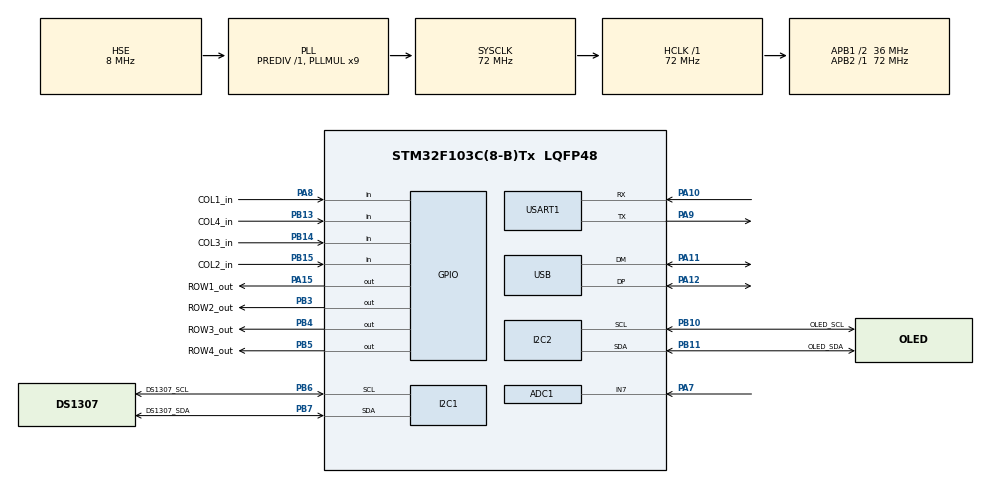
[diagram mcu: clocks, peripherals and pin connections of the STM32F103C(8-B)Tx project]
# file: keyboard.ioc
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ADC1.Channel-4\#ChannelRegularConversion=ADC_CHANNEL_7
ADC1.ContinuousConvMode=ENABLE
ADC1.NbrOfConversionFlag=1
ADC1.Rank-4\#ChannelRegularConversion=1
ADC1.SamplingTime-4\#ChannelRegularConversion=ADC_SAMPLETIME_1CYCLE_5
ADC1.master=1
Dma.ADC1.0.Direction=DMA_PERIPH_TO_MEMORY
Dma.ADC1.0.Instance=DMA1_Channel1
Dma.ADC1.0.MemDataAlignment=DMA_MDATAALIGN_HALFWORD
Dma.ADC1.0.MemInc=DMA_MINC_DISABLE
Dma.ADC1.0.Mode=DMA_CIRCULAR
Dma.ADC1.0.PeriphDataAlignment=DMA_PDATAALIGN_HALFWORD
Dma.ADC1.0.PeriphInc=DMA_PINC_DISABLE
Dma.ADC1.0.Priority=DMA_PRIORITY_LOW
Dma.Request0=ADC1
I2C1.I2C_Mode=I2C_Standard
I2C2.I2C_Mode=I2C_Fast
Mcu.Family=STM32F1
Mcu.Name=STM32F103C(8-B)Tx
Mcu.Package=LQFP48
NVIC.DMA1_Channel1_IRQn=true\:3\:0\:true\:false\:true\:false\:true\:true
NVIC.I2C2_ER_IRQn=true\:2\:0\:true\:false\:true\:true\:true\:true
NVIC.I2C2_EV_IRQn=true\:2\:0\:true\:false\:true\:true\:true\:true
NVIC.PriorityGroup=NVIC_PRIORITYGROUP_4
NVIC.USB_HP_CAN1_TX_IRQn=true\:1\:0\:true\:false\:true\:true\:true\:true
NVIC.USB_LP_CAN1_RX0_IRQn=true\:1\:0\:true\:false\:true\:false\:true\:true
PA10.Mode=Asynchronous
PA10.Signal=USART1_RX
PA11.Mode=Device
PA11.Signal=USB_DM
PA12.Mode=Device
PA12.Signal=USB_DP
PA13.Mode=Serial_Wire
PA13.Signal=SYS_JTMS-SWDIO
PA14.Mode=Serial_Wire
PA14.Signal=SYS_JTCK-SWCLK
PA15.GPIO_Label=ROW1_out
PA15.Signal=GPIO_Output
PA7.Signal=ADCx_IN7
PA8.GPIO_Label=COL1_in
PA8.GPIO_PuPd=GPIO_PULLUP
PA8.Signal=GPIO_Input
PA9.Mode=Asynchronous
PA9.Signal=USART1_TX
PB10.GPIO_Label=OLED_SCL
PB10.Mode=I2C
PB10.Signal=I2C2_SCL
PB11.GPIO_Label=OLED_SDA
PB11.Mode=I2C
PB11.Signal=I2C2_SDA
PB13.GPIO_Label=COL4_in
PB13.GPIO_PuPd=GPIO_PULLUP
PB13.Signal=GPIO_Input
PB14.GPIO_Label=COL3_in
PB14.GPIO_PuPd=GPIO_PULLUP
PB14.Signal=GPIO_Input
PB15.GPIO_Label=COL2_in
PB15.GPIO_PuPd=GPIO_PULLUP
PB15.Signal=GPIO_Input
PB3.GPIO_Label=ROW2_out
PB3.Signal=GPIO_Output
PB4.GPIO_Label=ROW3_out
PB4.Signal=GPIO_Output
PB5.GPIO_Label=ROW4_out
PB5.Signal=GPIO_Output
PB6.GPIO_Label=DS1307_SCL
PB6.Mode=I2C
PB6.Signal=I2C1_SCL
PB7.GPIO_Label=DS1307_SDA
PB7.Mode=I2C
PB7.Signal=I2C1_SDA
PD0-OSC_IN.Mode=HSE-External-Oscillator
PD0-OSC_IN.Signal=RCC_OSC_IN
PD1-OSC_OUT.Mode=HSE-External-Oscillator
PD1-OSC_OUT.Signal=RCC_OSC_OUT
ProjectManager.HeapSize=0x200
ProjectManager.StackSize=0x400
ProjectManager.TargetToolchain=MDK-ARM V5.32
RCC.ADCPresc=RCC_ADCPCLK2_DIV6
RCC.AHBFreq_Value=72000000
RCC.APB1CLKDivider=RCC_HCLK_DIV2
RCC.APB1Freq_Value=36000000
RCC.APB1TimFreq_Value=72000000
RCC.APB2Freq_Value=72000000
RCC.APB2TimFreq_Value=72000000
RCC.HCLKFreq_Value=72000000
RCC.PLLMUL=RCC_PLL_MUL9
RCC.SYSCLKFreq_VALUE=72000000
RCC.SYSCLKSource=RCC_SYSCLKSOURCE_PLLCLK
RCC.USBFreq_Value=48000000
RCC.USBPrescaler=RCC_USBCLKSOURCE_PLL_DIV1_5
SH.ADCx_IN7.0=ADC1_IN7,IN7
USART1.VirtualMode=VM_ASYNC
USB_DEVICE.CLASS_NAME_FS=CUSTOM_HID
USB_DEVICE.CUSTOM_HID_FS_BINTERVAL=0x0A
USB_DEVICE.PRODUCT_STRING_CUSTOMHID_FS=Phuong's DIY Keypad
USB_DEVICE.USBD_CUSTOMHID_OUTREPORT_BUF_SIZE=8
USB_DEVICE.USBD_CUSTOM_HID_REPORT_DESC_SIZE=120
USB_DEVICE.VirtualMode=CustomHid
USB_DEVICE.VirtualModeFS=Custom_Hid_FS
VP_USB_DEVICE_VS_USB_DEVICE_CUSTOM_HID_FS.Mode=CUSTOM_HID_FS
board=custom

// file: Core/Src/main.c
/* USER CODE BEGIN Header */
/**
  ******************************************************************************
  * @file           : main.c
  * @brief          : Main program body
  ******************************************************************************
  * @attention
  *
  * Copyright (c) 2025 STMicroelectronics.
  * All rights reserved.
  *
  * This software is licensed under terms that can be found in the LICENSE file
  * in the root directory of this software component.
  * If no LICENSE file comes with this software, it is provided AS-IS.
  *
  ******************************************************************************
  */
/* USER CODE END Header */
#include "main.h"
#include "usb_device.h"

ADC_HandleTypeDef hadc1;
DMA_HandleTypeDef hdma_adc1;

I2C_HandleTypeDef hi2c1;
I2C_HandleTypeDef hi2c2;

UART_HandleTypeDef huart1;

void SystemClock_Config(void);
static void MX_GPIO_Init(void);
static void MX_DMA_Init(void);
static void MX_I2C1_Init(void);
static void MX_USART1_UART_Init(void);
static void MX_ADC1_Init(void);
static void MX_I2C2_Init(void);

/* USER CODE BEGIN 0 */
#include "stdio.h"
#include "stdarg.h"
#include "stdbool.h"
#include "fonts.h"
#include "ssd1306.h"
#include "DS1307.h"
#include "Button_matrix.h"

#define ADC_BUFF_LEN 32		// sample to moving average filter
#define ADC_THRESHOLD 80 // threshold for changing %volume
#define VOLUME_MAX 100	//MAX VOLUME

#include "usbd_customhid.h"
extern USBD_HandleTypeDef hUsbDeviceFS;

void Send_key(uint8_t modifier, uint8_t keycode);
void Send_consumer(uint16_t keycode);

uint16_t adc_val[ADC_BUFF_LEN];
uint8_t volume = 0;
uint16_t volume_now, volume_old = 0;

char buff_time[20];
char buff_day[20];

char buff_uart[40];
//===================Time==================
DS1307_Typedef time_data;

//====================UART DEBUG============
void Print_uart(const char*format,...)
{
	for(uint8_t i=0; i<40; i++)
	{
		buff_uart[i] = 0;
	}
	va_list args;
	va_start(args, format);
	vsnprintf(buff_uart, sizeof(buff_uart), format, args);
	va_end(args);
	HAL_UART_Transmit(&huart1, (uint8_t*)buff_uart, 40, 1000);
}

//=========================key press handle=============
Matrix_Pin_Typedef rowS[4] = {
	{GPIOA, GPIO_PIN_15}, // ROW 1 - 4
	{GPIOB, GPIO_PIN_3},
	{GPIOB, GPIO_PIN_4},
	{GPIOB, GPIO_PIN_5},
};

Matrix_Pin_Typedef colS[4] = {
	{GPIOA, GPIO_PIN_8}, // col 1 - 4
	{GPIOB, GPIO_PIN_15},
	{GPIOB, GPIO_PIN_14},
	{GPIOB, GPIO_PIN_13},
};

Matrix_Typedef button_matrix = {
	.num_row = 4,
	.num_col = 4,
	.row_pins = rowS,
	.col_pins = colS
};

typedef enum
{
	KEY_TYPE_KEYBOARD,
	KEY_TYPE_CONSUMER
}KeyType_t;

typedef struct
{
	KeyType_t type;
	uint8_t modifier;
	uint16_t keycode;
}KeyMap_t;

KeyMap_t macro_key[16] = {
	{KEY_TYPE_KEYBOARD, 0x00, 0x46}, 	// KEY_PrtSc 1
	{KEY_TYPE_KEYBOARD, 0x0A, 0x16},	// KEY_SNIPPING_TOOL 2
	{KEY_TYPE_KEYBOARD, 0x08, 0x07},	//KEY_SHOW_DESKTOP 3
	{KEY_TYPE_KEYBOARD, 0x04, 0x3D},	// KEY_CLOSE_WINDOW 4
	{KEY_TYPE_KEYBOARD, 0x01, 0x1B},	//KEY_CUT 5
	{KEY_TYPE_KEYBOARD, 0x01, 0x06},	//KEY_COPY 6
	{KEY_TYPE_KEYBOARD, 0x01, 0x19},	//KEY_PASTE 7
	{KEY_TYPE_KEYBOARD, 0x01, 0x1D},	//KEY_UNDO 8
	{KEY_TYPE_KEYBOARD, 0x01, 0x1C},	//KEY_REDO 9
	{KEY_TYPE_KEYBOARD, 0x01, 0x04},	// KEY_SELECT_ALL 10
	{KEY_TYPE_CONSUMER, 0x00, 0xE2},	// KEY_MUTE 11
	{KEY_TYPE_CONSUMER, 0x00, 0xCD},	//KEY_PLAY_PAUSE 12
	{KEY_TYPE_CONSUMER, 0x00, 0xB5},	//KEY_NEXT_TRACK 13
	{KEY_TYPE_CONSUMER, 0x00, 0xB6},	//KEY_PREV_TRACK 14
	{KEY_TYPE_KEYBOARD, 0x01, 0x1A},	// KEY_CLOSE_TAB 15
	{KEY_TYPE_KEYBOARD, 0x01, 0x17}		//KEY_NEW_TAB 16
};

void Matrix_key_press_Callback(uint8_t key, KeyEvent_t key_event)
{
	KeyMap_t key_map = macro_key[key-1];
	if(key_event == KEY_PRESS)
	{
		if(key_map.type == KEY_TYPE_KEYBOARD)
		{
			Send_key(key_map.modifier, key_map.keycode);
			Print_uart("Key %d sent, type keyboard\n", key);
		}
		else if(key_map.type == KEY_TYPE_CONSUMER)
		{
			Send_consumer(key_map.keycode);
			Print_uart("Key %d sent, type consumer\n", key);
		}
	}
}

void Send_key(uint8_t modifier, uint8_t keycode)
{
	uint8_t keyboard_report[9] = {0};

	keyboard_report[0] = 0x01;
	keyboard_report[1] = modifier;
	keyboard_report[2] = 0;
	keyboard_report[3] = keycode;

	Print_uart("ID: %02X, Modifier: %02X, Keycode: %02X\n", keyboard_report[0], keyboard_report[1], keyboard_report[3]);
	USBD_CUSTOM_HID_SendReport(&hUsbDeviceFS, (uint8_t*)&keyboard_report, sizeof(keyboard_report));
    HAL_Delay(20);

	memset(keyboard_report, 0, sizeof(keyboard_report));
	keyboard_report[0] = 0x01;
    USBD_CUSTOM_HID_SendReport(&hUsbDeviceFS, keyboard_report, sizeof(keyboard_report));
    HAL_Delay(20);
}

void Send_consumer(uint16_t keycode)
{
    uint8_t consumer_report[3];

	consumer_report[0] = 0x02;
	consumer_report[1] = keycode & 0xFF; // LSB
	consumer_report[2] = keycode >> 8;	//MSB

	Print_uart("ID: %02X, Keycode: %02X\n", consumer_report[0], consumer_report[1]);
    USBD_CUSTOM_HID_SendReport(&hUsbDeviceFS, consumer_report, sizeof(consumer_report));
    HAL_Delay(20);

    // Send release
	consumer_report[1] = 0;
	consumer_report[2] = 0;
    USBD_CUSTOM_HID_SendReport(&hUsbDeviceFS, consumer_report, sizeof(consumer_report));
    HAL_Delay(20);
}

//==========================Display handle==============
const char dow_arr[][10] = {{"SUN"},{"MON"},{"TUE"},{"WED"},
							{"THU"},{"FRI"},{"SAT"}}; //day of week

void Oled_display() // display date, month, year and keyboard map
{
	DS1307_read(&time_data);

	//=========================Time==============================
	sprintf(buff_time, "%02d:%02d:%02d", time_data.hour, time_data.min, time_data.sec);
    SSD1306_GotoXY(15, 20); 								//col, row
    SSD1306_Puts(buff_time, &Font_11x18, 1);

	//=====================GET DAY====================
	uint8_t dow = DS1307_get_day_of_week(&time_data);
	SSD1306_GotoXY(90, 5);
	sprintf(buff_day, "%s", dow_arr[dow]);
	SSD1306_Puts(buff_day, &Font_7x10, 1);

	//========================Date=======================================
    SSD1306_GotoXY(5, 5);
    sprintf(buff_day, "%02d/%02d/20%02d", time_data.date, time_data.month, time_data.year);
    SSD1306_Puts(buff_day, &Font_7x10, 1);

	SSD1306_UpdateScreen();
}

//======================Adjust volume==================

// adjust volume base on adc value but adc value fluctuated
// set threshold, if current_value > previous_value && current_value - prev_value > threshold => adjust
uint8_t Check_adc_threshold()
{
	uint8_t is_pass_threshold = 0;
	uint16_t current_adc_val = adc_val[0];
	static uint16_t is_first_run = 1;
	static uint16_t prev_adc_val = 0;

	if(is_first_run)
	{
		prev_adc_val = current_adc_val;
		is_first_run = 0;
		return 0;
	}

	if((current_adc_val > prev_adc_val) && (current_adc_val-prev_adc_val>ADC_THRESHOLD))
	{
		is_pass_threshold = 1;
		prev_adc_val += ADC_THRESHOLD;
	}
	else if((current_adc_val < prev_adc_val) && (prev_adc_val-current_adc_val>ADC_THRESHOLD))
	{
		is_pass_threshold = 2;
		prev_adc_val -= ADC_THRESHOLD;
	}

	return is_pass_threshold;
}

void HID_VolumeControl() // rotary switch adjust volume
{
	uint8_t is_adjust = Check_adc_threshold(); // check adjust allowance
    uint8_t report[3];

    report[0] = 0x02;   // Report ID
    report[1] = 0x00;   // default release
	report[2] = 0x00;   // default release

	if(adc_val[0] < 30) adc_val[0] = 0;
	if(adc_val[0] > 4050) adc_val[0] = 4050;

    if(is_adjust == 1)   // Volume Up
	{
		report[1] = 0xE9 & 0xFF;
		report[2] = (0xE9 >> 8) & 0xFF;
	}

    else if(is_adjust == 2)  // Volume Down
	{
		report[1] = 0xEA & 0xFF;
		report[2] = (0xEA >> 8) & 0xFF;
	}

    USBD_CUSTOM_HID_SendReport(&hUsbDeviceFS, report, sizeof(report));
    HAL_Delay(10);

    // Release
    report[1] = 0x00;
	report[2] = 0x00;
    USBD_CUSTOM_HID_SendReport(&hUsbDeviceFS, report, sizeof(report));
    HAL_Delay(10);
}

/* USER CODE END 0 */

int main(void)
{

  /* MCU Configuration--------------------------------------------------------*/

  /* Reset of all peripherals, Initializes the Flash interface and the Systick. */
  HAL_Init();

  /* Configure the system clock */
  SystemClock_Config();

  /* Initialize all configured peripherals */
  MX_GPIO_Init();
  MX_DMA_Init();
  MX_I2C1_Init();
  MX_USART1_UART_Init();
  MX_USB_DEVICE_Init();
  MX_ADC1_Init();
  MX_I2C2_Init();
  /* USER CODE BEGIN 2 */
  SSD1306_Init();
  DS1307_Init(&hi2c1);
  HAL_ADCEx_Calibration_Start(&hadc1);
  HAL_ADC_Start_DMA(&hadc1, (uint32_t *)adc_val, ADC_BUFF_LEN);

//  time_data.hour = 15;
//  time_data.min = 32;
//  time_data.sec = 30;
//  time_data.date = 25;
//  time_data.month = 9;
//  time_data.year = 25;
//  DS1307_write(&time_data);
  /* USER CODE END 2 */

  /* Infinite loop */
  /* USER CODE BEGIN WHILE */
  while (1)
  {
	  Matrix_handle(&button_matrix);
	  static uint32_t time = 0;
	  if(HAL_GetTick() - time > 100)
	  {
		  HID_VolumeControl();
		  Oled_display();
		  time = HAL_GetTick();
	  }

    /* USER CODE END WHILE */

  }
}

void SystemClock_Config(void)
{
  RCC_OscInitTypeDef RCC_OscInitStruct = {0};
  RCC_ClkInitTypeDef RCC_ClkInitStruct = {0};
  RCC_PeriphCLKInitTypeDef PeriphClkInit = {0};

  /** Initializes the RCC Oscillators according to the specified parameters
  * in the RCC_OscInitTypeDef structure.
  */
  RCC_OscInitStruct.OscillatorType = RCC_OSCILLATORTYPE_HSE;
  RCC_OscInitStruct.HSEState = RCC_HSE_ON;
  RCC_OscInitStruct.HSEPredivValue = RCC_HSE_PREDIV_DIV1;
  RCC_OscInitStruct.HSIState = RCC_HSI_ON;
  RCC_OscInitStruct.PLL.PLLState = RCC_PLL_ON;
  RCC_OscInitStruct.PLL.PLLSource = RCC_PLLSOURCE_HSE;
  RCC_OscInitStruct.PLL.PLLMUL = RCC_PLL_MUL9;
  if (HAL_RCC_OscConfig(&RCC_OscInitStruct) != HAL_OK)
  {
    Error_Handler();
  }

  /** Initializes the CPU, AHB and APB buses clocks
  */
  RCC_ClkInitStruct.ClockType = RCC_CLOCKTYPE_HCLK|RCC_CLOCKTYPE_SYSCLK
                              |RCC_CLOCKTYPE_PCLK1|RCC_CLOCKTYPE_PCLK2;
  RCC_ClkInitStruct.SYSCLKSource = RCC_SYSCLKSOURCE_PLLCLK;
  RCC_ClkInitStruct.AHBCLKDivider = RCC_SYSCLK_DIV1;
  RCC_ClkInitStruct.APB1CLKDivider = RCC_HCLK_DIV2;
  RCC_ClkInitStruct.APB2CLKDivider = RCC_HCLK_DIV1;

  if (HAL_RCC_ClockConfig(&RCC_ClkInitStruct, FLASH_LATENCY_2) != HAL_OK)
  {
    Error_Handler();
  }
  PeriphClkInit.PeriphClockSelection = RCC_PERIPHCLK_ADC|RCC_PERIPHCLK_USB;
  PeriphClkInit.AdcClockSelection = RCC_ADCPCLK2_DIV6;
  PeriphClkInit.UsbClockSelection = RCC_USBCLKSOURCE_PLL_DIV1_5;
  if (HAL_RCCEx_PeriphCLKConfig(&PeriphClkInit) != HAL_OK)
  {
    Error_Handler();
  }
}

static void MX_ADC1_Init(void)
{

  ADC_ChannelConfTypeDef sConfig = {0};

  /** Common config
  */
  hadc1.Instance = ADC1;
  hadc1.Init.ScanConvMode = ADC_SCAN_DISABLE;
  hadc1.Init.ContinuousConvMode = ENABLE;
  hadc1.Init.DiscontinuousConvMode = DISABLE;
  hadc1.Init.ExternalTrigConv = ADC_SOFTWARE_START;
  hadc1.Init.DataAlign = ADC_DATAALIGN_RIGHT;
  hadc1.Init.NbrOfConversion = 1;
  if (HAL_ADC_Init(&hadc1) != HAL_OK)
  {
    Error_Handler();
  }

  /** Configure Regular Channel
  */
  sConfig.Channel = ADC_CHANNEL_7;
  sConfig.Rank = ADC_REGULAR_RANK_1;
  sConfig.SamplingTime = ADC_SAMPLETIME_1CYCLE_5;
  if (HAL_ADC_ConfigChannel(&hadc1, &sConfig) != HAL_OK)
  {
    Error_Handler();
  }

}

static void MX_I2C1_Init(void)
{

  hi2c1.Instance = I2C1;
  hi2c1.Init.ClockSpeed = 100000;
  hi2c1.Init.DutyCycle = I2C_DUTYCYCLE_2;
  hi2c1.Init.OwnAddress1 = 0;
  hi2c1.Init.AddressingMode = I2C_ADDRESSINGMODE_7BIT;
  hi2c1.Init.DualAddressMode = I2C_DUALADDRESS_DISABLE;
  hi2c1.Init.OwnAddress2 = 0;
  hi2c1.Init.GeneralCallMode = I2C_GENERALCALL_DISABLE;
  hi2c1.Init.NoStretchMode = I2C_NOSTRETCH_DISABLE;
  if (HAL_I2C_Init(&hi2c1) != HAL_OK)
  {
    Error_Handler();
  }

}

static void MX_I2C2_Init(void)
{

  hi2c2.Instance = I2C2;
  hi2c2.Init.ClockSpeed = 400000;
  hi2c2.Init.DutyCycle = I2C_DUTYCYCLE_2;
  hi2c2.Init.OwnAddress1 = 0;
  hi2c2.Init.AddressingMode = I2C_ADDRESSINGMODE_7BIT;
  hi2c2.Init.DualAddressMode = I2C_DUALADDRESS_DISABLE;
  hi2c2.Init.OwnAddress2 = 0;
  hi2c2.Init.GeneralCallMode = I2C_GENERALCALL_DISABLE;
  hi2c2.Init.NoStretchMode = I2C_NOSTRETCH_DISABLE;
  if (HAL_I2C_Init(&hi2c2) != HAL_OK)
  {
    Error_Handler();
  }

}

static void MX_USART1_UART_Init(void)
{

  huart1.Instance = USART1;
  huart1.Init.BaudRate = 115200;
  huart1.Init.WordLength = UART_WORDLENGTH_8B;
  huart1.Init.StopBits = UART_STOPBITS_1;
  huart1.Init.Parity = UART_PARITY_NONE;
  huart1.Init.Mode = UART_MODE_TX_RX;
  huart1.Init.HwFlowCtl = UART_HWCONTROL_NONE;
  huart1.Init.OverSampling = UART_OVERSAMPLING_16;
  if (HAL_UART_Init(&huart1) != HAL_OK)
  {
    Error_Handler();
  }

}

static void MX_DMA_Init(void)
{

  /* DMA controller clock enable */
  __HAL_RCC_DMA1_CLK_ENABLE();

  /* DMA interrupt init */
  /* DMA1_Channel1_IRQn interrupt configuration */
  HAL_NVIC_SetPriority(DMA1_Channel1_IRQn, 3, 0);
  HAL_NVIC_EnableIRQ(DMA1_Channel1_IRQn);

}

static void MX_GPIO_Init(void)
{
  GPIO_InitTypeDef GPIO_InitStruct = {0};

  /* GPIO Ports Clock Enable */
  __HAL_RCC_GPIOD_CLK_ENABLE();
  __HAL_RCC_GPIOA_CLK_ENABLE();
  __HAL_RCC_GPIOB_CLK_ENABLE();

  /*Configure GPIO pin Output Level */
  HAL_GPIO_WritePin(ROW1_out_GPIO_Port, ROW1_out_Pin, GPIO_PIN_RESET);

  /*Configure GPIO pin Output Level */
  HAL_GPIO_WritePin(GPIOB, ROW2_out_Pin|ROW3_out_Pin|ROW4_out_Pin, GPIO_PIN_RESET);

  /*Configure GPIO pins : COL4_in_Pin COL3_in_Pin COL2_in_Pin */
  GPIO_InitStruct.Pin = COL4_in_Pin|COL3_in_Pin|COL2_in_Pin;
  GPIO_InitStruct.Mode = GPIO_MODE_INPUT;
  GPIO_InitStruct.Pull = GPIO_PULLUP;
  HAL_GPIO_Init(GPIOB, &GPIO_InitStruct);

  /*Configure GPIO pin : COL1_in_Pin */
  GPIO_InitStruct.Pin = COL1_in_Pin;
  GPIO_InitStruct.Mode = GPIO_MODE_INPUT;
  GPIO_InitStruct.Pull = GPIO_PULLUP;
  HAL_GPIO_Init(COL1_in_GPIO_Port, &GPIO_InitStruct);

  /*Configure GPIO pin : ROW1_out_Pin */
  GPIO_InitStruct.Pin = ROW1_out_Pin;
  GPIO_InitStruct.Mode = GPIO_MODE_OUTPUT_PP;
  GPIO_InitStruct.Pull = GPIO_NOPULL;
  GPIO_InitStruct.Speed = GPIO_SPEED_FREQ_LOW;
  HAL_GPIO_Init(ROW1_out_GPIO_Port, &GPIO_InitStruct);

  /*Configure GPIO pins : ROW2_out_Pin ROW3_out_Pin ROW4_out_Pin */
  GPIO_InitStruct.Pin = ROW2_out_Pin|ROW3_out_Pin|ROW4_out_Pin;
  GPIO_InitStruct.Mode = GPIO_MODE_OUTPUT_PP;
  GPIO_InitStruct.Pull = GPIO_NOPULL;
  GPIO_InitStruct.Speed = GPIO_SPEED_FREQ_LOW;
  HAL_GPIO_Init(GPIOB, &GPIO_InitStruct);

}

void Error_Handler(void)
{
  __disable_irq();
  while (1)
  {
  }
}
